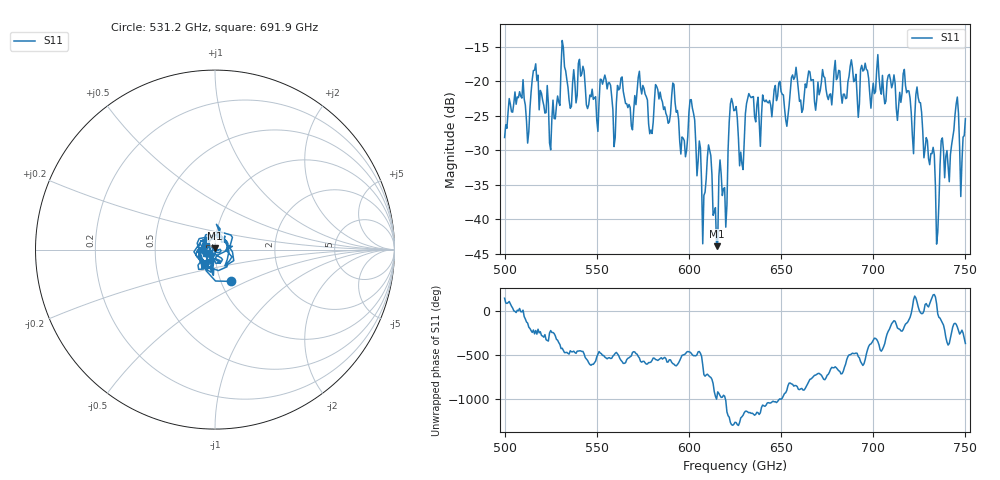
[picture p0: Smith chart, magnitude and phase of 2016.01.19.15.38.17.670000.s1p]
!Created with skrf (http://scikit-rf.org).
# GHz S RI R 50.0
!freq ReS11 ImS11
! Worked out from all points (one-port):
!   401 points, 500 GHz to 750 GHz, reference 50 ohm
!   lowest |S11| = -43.9 dB at 615 GHz (marker M1), VSWR 1.01, Z = 50.1 + j0.636 ohm
!   |S11| at or under -10 dB: start of sweep to end of sweep
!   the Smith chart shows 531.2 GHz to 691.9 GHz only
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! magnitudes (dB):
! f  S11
! 500 GHz  -28.1
! 508.8 GHz  -22.2
! 512.5 GHz  -29.0
! 516.9 GHz  -17.5
! 525.6 GHz  -25.5
! 531.2 GHz  -14.1
! 559.4 GHz  -29.5
! 562.5 GHz  -21.1
! 593.8 GHz  -24.2
! 598.1 GHz  -30.9
! 601.9 GHz  -23.9
! 608.1 GHz  -36.5
! 611.2 GHz  -30.0
! 615 GHz  -43.9
! 619.4 GHz  -35.4
! 622.5 GHz  -23.3
! 625 GHz  -24.2
! 628.8 GHz  -31.9
! 632.5 GHz  -21.8
! 653.1 GHz  -26.5
! 656.2 GHz  -19.1
! 687.5 GHz  -17.8
! 718.8 GHz  -21.4
! 725 GHz  -23.1
! 735 GHz  -41.9
! 745 GHz  -23.3
! 748.1 GHz  -31.7
! 750 GHz  -25.4
